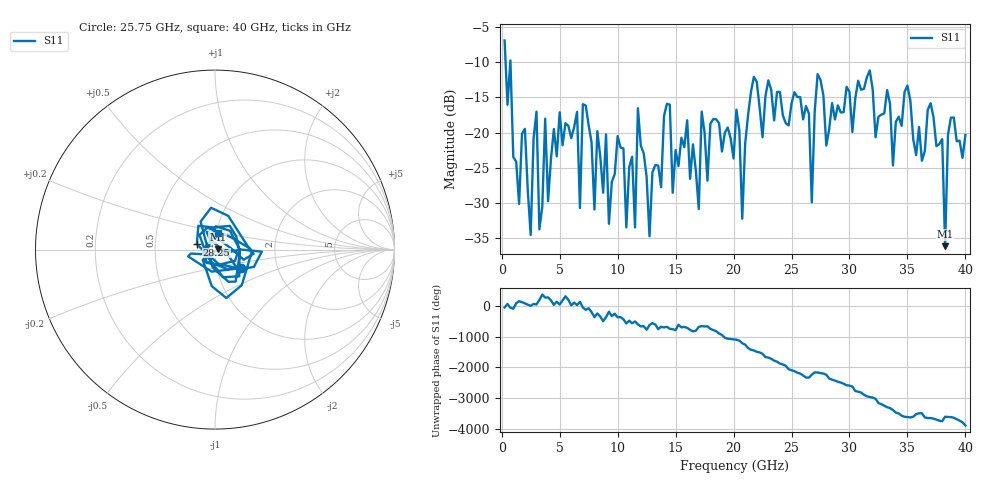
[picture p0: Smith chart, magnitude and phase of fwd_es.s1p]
!Created with skrf (http://scikit-rf.org).
# GHz S RI R 50.0
!freq ReS11 ImS11
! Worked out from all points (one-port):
!   160 points, 250 MHz to 40 GHz, reference 50 ohm
!   lowest |S11| = -36.2 dB at 38.25 GHz (marker M1), VSWR 1.03, Z = 51.6 + j0.112 ohm
!   |S11| at or under -10 dB: 335.3 MHz to 738.7 MHz (403.4 MHz wide, 75.1 % of centre); 755.2 MHz to end of sweep
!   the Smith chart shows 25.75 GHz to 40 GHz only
!   S11 on the Smith chart (normalised r, x): 25.75 GHz: 1.31, -0.28; 28.25 GHz: 0.81, +0.05; 40 GHz: 1.01, +0.19
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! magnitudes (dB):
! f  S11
! 250 MHz  -6.9
! 2.5 GHz  -34.6
! 3 GHz  -17.0
! 3.25 GHz  -33.8
! 3.75 GHz  -18.0
! 4 GHz  -29.8
! 5.25 GHz  -21.8
! 9.25 GHz  -33.0
! 10.25 GHz  -22.1
! 11.5 GHz  -33.5
! 11.75 GHz  -16.5
! 12.75 GHz  -34.8
! 14.25 GHz  -15.9
! 15.25 GHz  -24.8
! 20.25 GHz  -16.7
! 20.75 GHz  -32.3
! 21.75 GHz  -12.1
! 25.25 GHz  -14.2
! 25.75 GHz  -14.9
! 26.75 GHz  -30.0
! 27.25 GHz  -11.7
! 28.25 GHz  -19.5
! 30.25 GHz  -19.9
! 35.25 GHz  -15.4
! 38 GHz  -20.9
! 38.25 GHz  -36.2
! 38.75 GHz  -17.9
! 40 GHz  -20.3
